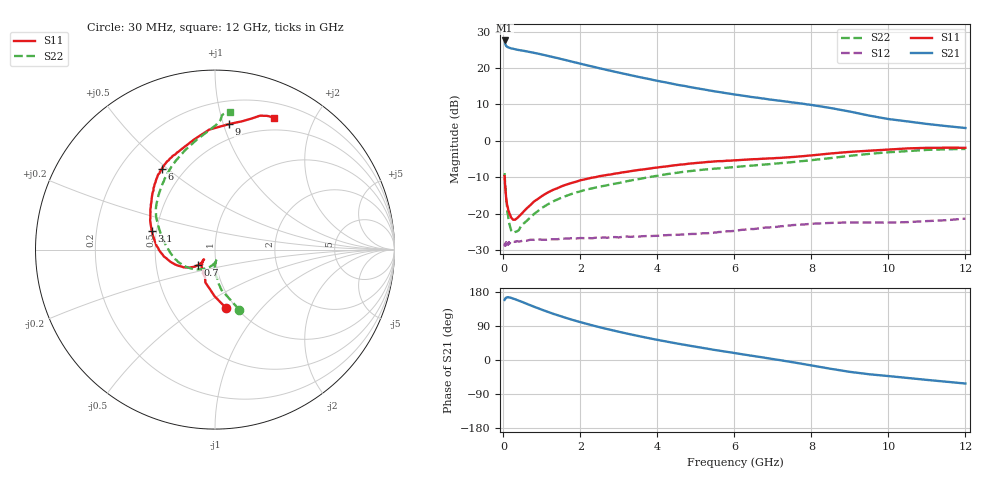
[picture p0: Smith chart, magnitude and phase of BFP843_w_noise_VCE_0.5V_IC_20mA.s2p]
! Infineon Technologies  Discrete & RF Semiconductors
! BFP843
! VCE =  0.5 V,  IC =  20 mA
! Common Emitter S-Parameters:  Aug 2013
# GHz  S  MA  R  50
!  f  S11  S21  S12  S22
! GHz  MAG  ANG  MAG  ANG  MAG  ANG  MAG  ANG
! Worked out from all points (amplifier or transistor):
!   103 points, 30 MHz to 12 GHz, reference 50 ohm
!   highest |S21| = 27.6 dB at 30 MHz (marker M1)
!   |S21| within 3 dB of that: start of sweep to 601 MHz
!   unconditionally stable (mu >= 1): 89.03 MHz to 11.91 GHz
!   at 400 MHz: K = 1.04, MAG = 25.1 dB, |S12| = -27.7 dB
!   at 3.7 GHz: K = 1.28, MAG = 18.5 dB, |S12| = -26.2 dB
!   at 12 GHz: K = 0.99, MSG = 12.4 dB, |S12| = -21.4 dB
!   lowest NFmin = 1.04 dB at 450 MHz
!   S11 on the Smith chart (normalised r, x): 30 MHz: 0.90, -0.65; 700 MHz: 0.81, -0.14; 3.1 GHz: 0.47, +0.12; 6 GHz: 0.38, +0.48; 9 GHz: 0.38, +1.05; 12 GHz: 0.36, +1.49
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0.03  0.3286 -79.5  23.89 158.7  0.0357 26.7  0.3609 -68.0
0.04  0.2612 -90.3  22.13 160.2  0.0387 22.5  0.2771 -74.5
0.05  0.2217 -97.4  21.22 162.9  0.0361 17.6  0.2276 -80.9
0.07  0.163 -110.0  20.04 164.6  0.0406 15.1  0.163 -85.3
0.13  0.1084 -130.8  19.19 165.7  0.0392 10.1  0.0835 -91.5
0.7  0.1309 -138.0  16.52 144.4  0.0438 5.0  0.0885 -99.8
1  0.1744 -145.1  15.31 132.7  0.0438 4.3  0.1196 -117.8
1.3  0.2129 -154.1  14.07 121.7  0.0444 4.4  0.1478 -131.5
1.7  0.2565 -164.5  12.53 108.8  0.0456 3.6  0.1806 -146.8
2.1  0.2943 -174.8  11.11 97.1  0.046 4.1  0.21 -159.1
2.6  0.3331 173.7  9.638 84.0  0.047 4.7  0.2398 -172.0
3.1  0.369 163.3  8.405 72.2  0.0481 4.2  0.2703 176.2
3.6  0.402 153.6  7.372 61.3  0.0489 4.1  0.3038 166.4
4.1  0.437 144.8  6.503 51.2  0.0501 4.3  0.3382 158.1
4.9  0.4891 133.8  5.403 36.6  0.0526 5.0  0.3857 148.4
6  0.5396 123.2  4.327 18.4  0.0578 4.7  0.4356 136.4
6.1  0.5417 122.5  4.262 16.8  0.0588 4.7  0.4406 135.1
7.3  0.5882 108.9  3.484 -2.4  0.0675 0.5  0.4987 122.3
8.5  0.6695 92.7  2.819 -23.2  0.0745 -7.8  0.579 106.6
9  0.7043 83.5  2.52 -31.3  0.0756 -11.6  0.6215 99.3
10.5  0.7864 71.5  1.845 -47.4  0.0764 -16.8  0.7218 87.6
12  0.8018 65.7  1.498 -62.1  0.0853 -22.5  0.7719 83.7
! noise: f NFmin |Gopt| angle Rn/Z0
0.45  1.04  0.12  -173  0.04
0.9  1.05  0.12  -165  0.07
1.5  1.06  0.13  -157  0.15
1.9  1.08  0.13  -147  0.21
2.4  1.11  0.12  -135  0.27
3.5  1.15  0.11  -117  0.32
5.5  1.25  0.25  -110  0.41
10  1.83  0.52  -61  0.54
